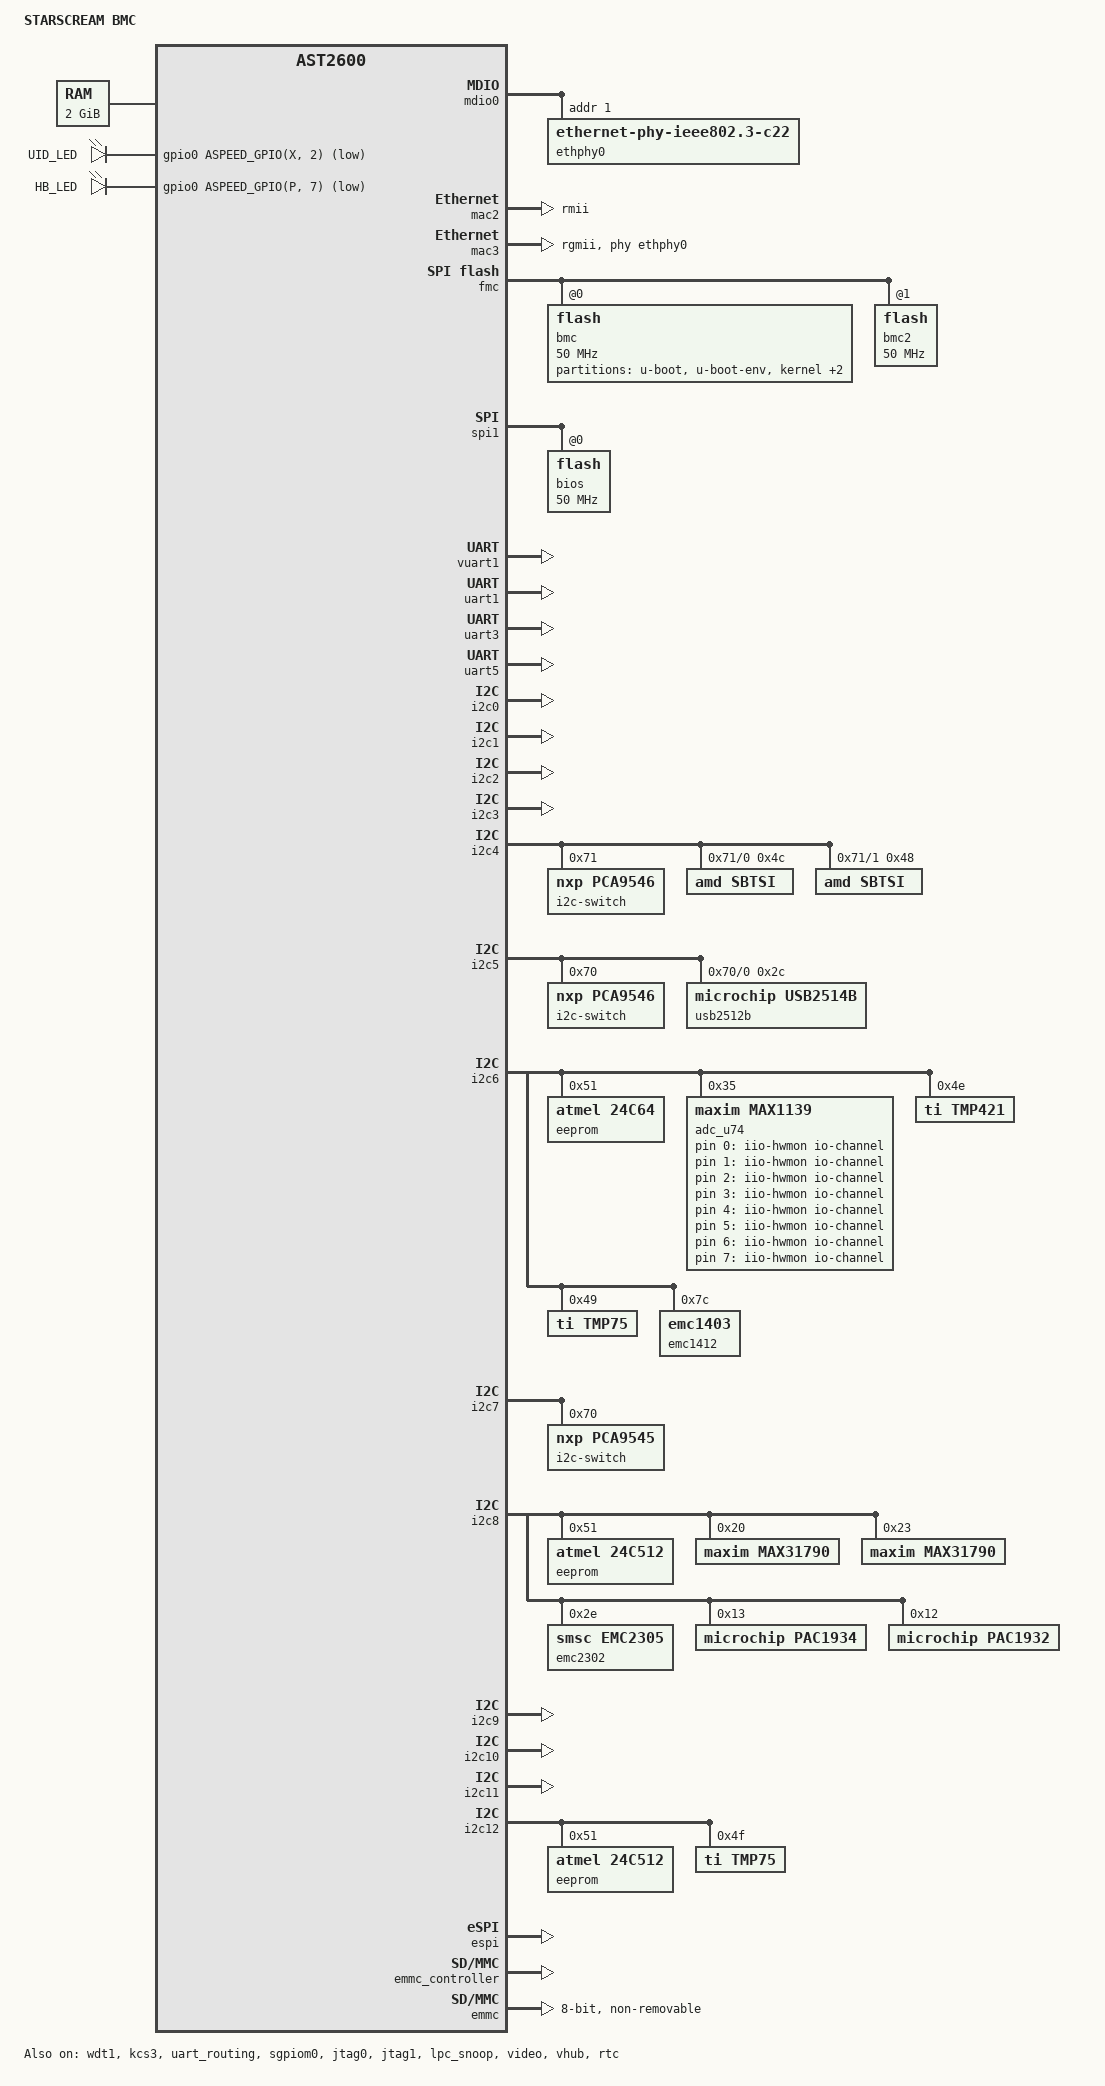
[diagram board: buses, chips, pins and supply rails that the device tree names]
// SPDX-License-Identifier: GPL-2.0-or-later
// Copyright 2019 IBM Corp.

/dts-v1/;

#include "aspeed-g6.dtsi"
#include "aspeed-g6-pinctrl.dtsi"
#include <dt-bindings/i2c/i2c.h>
#include <dt-bindings/gpio/aspeed-gpio.h>

/ {
        model = "STARSCREAM BMC";
        compatible = "inventec,starscream-bmc", "aspeed,ast2600";

        aliases {
                serial4 = &uart5;
        };

        chosen {
                stdout-path = &uart5;
                bootargs = "console=tty0 console=ttyS4,115200n8 root=/dev/ram rw init=/linuxrc";
        };

        memory@80000000 {
                device_type = "memory";
                reg = <0x80000000 0x80000000>;
        };

        reserved-memory {
                #address-cells = <1>;
                #size-cells = <1>;
                ranges;

                gfx_memory: framebuffer {
                        size = <0x01000000>;
                        alignment = <0x01000000>;
                        compatible = "shared-dma-pool";
                        reusable;
                };

                video_engine_memory: video {
                        size = <0x04000000>;
                        alignment = <0x01000000>;
                        compatible = "shared-dma-pool";
                        reusable;
                };

                ssp_memory: ssp_memory {
                        size = <0x00200000>;
                        alignment = <0x00100000>;
                        compatible = "shared-dma-pool";
                        no-map;
                };
#if 0
                espi_peripheral_memory: espi_peripheral_memory {
                        no-map;
                        reg = <0x98000000 0x04000000>; /* 64M */
                        size = <0x01000000>;
                        alignment = <0x01000000>;
                        compatible = "shared-dma-pool";
                        reusable;
                };
#endif
        };
        
        vga-shared-memory {
                compatible = "aspeed,ast2500-vga-sharedmem";
                reg = <0xbff00000 0x10000>;
        };

        iio-hwmon {
                compatible = "iio-hwmon";
                io-channels =
                    <&adc_u74 0>, // P0_VDD11
                    <&adc_u74 1>, // P1_VDD11
                    <&adc_u74 2>, // P0_3V3_S5
                    <&adc_u74 3>, // P1_3V3_S5
                    <&adc_u74 4>, // P3V3
                    <&adc_u74 5>, // VBAT
                    <&adc_u74 6>, // P3V3_STBY
                    <&adc_u74 7>, // P5V_STBY
                    <&adc_u74 8>, // P5V
                    <&adc_u74 9>, // P12V
                    <&adc_u74 10>, // P1_VDD18_S5
                    <&adc_u74 11> // P0_VDD18_S5
                    ;
        };

        leds {
                compatible = "gpio-leds";

                // UID led
                uid {
                    label = "UID_LED";
                    gpios = <&gpio0 ASPEED_GPIO(X, 2) GPIO_ACTIVE_LOW>;
                };

                // Heart beat led
                heartbeat {
                    label = "HB_LED";
                    gpios = <&gpio0 ASPEED_GPIO(P, 7) GPIO_ACTIVE_LOW>;
                };
        };
};

&mdio0 {
        status = "okay";

        ethphy0: ethernet-phy@0 {
                compatible = "ethernet-phy-ieee802.3-c22";
                reg = <1>;
        };
};

&mac2 {
        status = "okay";
        pinctrl-names = "default";
        phy-mode = "rmii";
        pinctrl-0 = <&pinctrl_rmii3_default>;
        use-ncsi;
};

&mac3 {
        status = "okay";

        phy-mode = "rgmii";
        phy-handle = <&ethphy0>;

        pinctrl-names = "default";
        pinctrl-0 = <&pinctrl_rgmii4_default>;
};

&fmc {
        status = "okay";
        flash@0 {
                status = "okay";
                m25p,fast-read;
                label = "bmc";
                spi-max-frequency = <50000000>;
                spi-tx-bus-width = <4>;
                spi-rx-bus-width = <4>;

                partitions {
                        compatible = "fixed-partitions";
                        #address-cells = <1>;
                        #size-cells = <1>;

                        u-boot@0 {
                                reg = <0x0 0xe0000>; // 896KB
                                label = "u-boot";
                        };

                        u-boot-env@e0000 {
                                reg = <0xe0000 0x20000>; // 128KB
                                label = "u-boot-env";
                        };

                        kernel@100000 {
                                reg = <0x100000 0x900000>; // 9MB
                                label = "kernel";
                        };

                        rofs@a00000 {
                                reg = <0xa00000 0x2000000>; // 32MB
                                label = "rofs";
                        };

                        rwfs@2a00000 {
                                reg = <0x2a00000 0x1600000>; // 22MB
                                label = "rwfs";
                        };
                };
        };

        flash@1 {
                status = "okay";
                m25p,fast-read;
                label = "bmc2";
                spi-max-frequency = <50000000>;
                spi-tx-bus-width = <4>;
                spi-rx-bus-width = <4>;
        };
};

&spi1 {
        status = "okay";
        pinctrl-names = "default";
        pinctrl-0 = <&pinctrl_spi1_default>;

        flash@0 {
                status = "okay";
                m25p,fast-read;
                label = "bios";
                spi-max-frequency = <50000000>;
                spi-tx-bus-width = <4>;
                spi-rx-bus-width = <4>;
        };
};


&wdt1 {
       status = "okay";
};

&vuart1 {
        status = "okay";
};

&uart1 {
        status = "okay";
};

&uart3 {
        status = "okay";
};

&uart5 {
        status = "okay";
};

&kcs3 {
        reg = <0x2c 0x1>, <0x38 0x1>, <0x44 0x1>;
        aspeed,lpc-io-reg = <0xca2>;
        status = "okay";
};

&uart_routing {
        status = "okay";
};

#if 1 //using i2c mode instead of i3c
&i2c0 {
        status = "okay";
};
&i2c1 {
        status = "okay";
};
&i2c2 {
        status = "okay";
};
&i2c3 {
        status = "okay";
};
#endif

&i2c4 {
        status = "okay";

        // I2C EXPANDER
        i2c-switch@71 {
                compatible = "nxp,pca9546";
                #address-cells = <1>;
                #size-cells = <0>;
                reg = <0x71>;

                i2c@0 {
                        #address-cells = <1>;
                        #size-cells = <0>;
                        reg = <0>;
                        // AMD SB-TSI CPU1
                        sbtsi@4c {
                                compatible = "amd,sbtsi";
                                reg = <0x4c>;
                        };
                };

                i2c@1 {
                        #address-cells = <1>;
                        #size-cells = <0>;
                        reg = <1>;
                        // AMD SB-TSI CPU2
                        sbtsi@48 {
                                compatible = "amd,sbtsi";
                                reg = <0x48>;
                        };
                };
        };
};

&i2c5 {
        status = "okay";

        // I2C EXPANDER U153
        i2c-switch@70 {
                compatible = "nxp,pca9546";
                #address-cells = <1>;
                #size-cells = <0>;
                reg = <0x70>;

                usb_hub:i2c@0 {
                        #address-cells = <1>;
                        #size-cells = <0>;
                        reg = <0>;

                        // USB U114
                        usb2512b@2c {
                                compatible = "microchip,usb2514b";
                                reg = <0x2c>;
                        };
                };

                riser1:i2c@1 {
                        #address-cells = <1>;
                        #size-cells = <0>;
                        reg = <1>;
                };

                riser2:i2c@2 {
                        #address-cells = <1>;
                        #size-cells = <0>;
                        reg = <2>;
                };

                i2c@3 {
                        #address-cells = <1>;
                        #size-cells = <0>;
                        reg = <3>;
                };
        };
};

&i2c6 {
        status = "okay";

        // FRU Motherboard
        eeprom@51 {
                compatible = "atmel,24c64";
                reg = <0x51>;
                pagesize = <32>;
        };

        // ADC_U74
        adc_u74:max1139@35 {
                compatible = "maxim,max1139";
                reg = <0x35>;
                #io-channel-cells = <1>;
        };

        // Motherboard Temp_U89
        tmp421@4e {
                compatible = "ti,tmp421";
                reg = <0x4e>;
        };

        // RunBMC Temp_U6
        tmp75@49 {
                compatible = "ti,tmp75";
                reg = <0x49>;
        };

        // Right ear board Temp_U1
        emc1412@7c {
                compatible = "emc1403";
                reg = <0x7c>;
        };
};

&i2c7 {
        status = "okay";
        // I2C EXPANDER U40
        i2c-switch@70 {
                compatible = "nxp,pca9545";
                #address-cells = <1>;
                #size-cells = <0>;
                reg = <0x70>;

                i2c@0 {
                        #address-cells = <1>;
                        #size-cells = <0>;
                        reg = <0>;
                };

                i2c@1 {
                        #address-cells = <1>;
                        #size-cells = <0>;
                        reg = <1>;
                };

                i2c@2 {
                        #address-cells = <1>;
                        #size-cells = <0>;
                        reg = <2>;
                };

                i2c@3 {
                        #address-cells = <1>;
                        #size-cells = <0>;
                        reg = <3>;
                };
        };
};


&i2c8 {
        status = "okay";
        // FRU RunBMC
        eeprom@51 {
                compatible = "atmel,24c512";
                reg = <0x51>;
                pagesize = <128>;
        };

        // Fan controller
        max31790@20 {
                compatible = "maxim,max31790";
                reg = <0x20>;
        };
        max31790@23 {
                compatible = "maxim,max31790";
                reg = <0x23>;
        };
        emc2302@2e {
                compatible = "smsc,emc2305";
                reg = <0x2e>;
        };

        pac1934@13 {
                compatible = "microchip,pac1934";
                reg = <0x13>;
                shunt-resistors = <4000 4000 4000 4000>;
        };

        pac1932@12 {
                compatible = "microchip,pac1932";
                reg = <0x12>;
                shunt-resistors = <4000 4000>;
        };
};

&i2c9 {
        status = "okay";
};

&i2c10 {
        status = "okay";
};

&i2c11 {
        status = "okay";
};

&i2c12 {
        status = "okay";
        // FRU SCM
        eeprom@51 {
                compatible = "atmel,24c512";
                reg = <0x51>;
                pagesize = <128>;
        };

        // SCM Temp_U17
        tmp75@4f {
                compatible = "ti,tmp75";
                reg = <0x4f>;
        };
};

#if 0 //using i2c mode instead of i3c
&i3cglobal {
        status = "okay";
};

&i3c2 {
        status = "okay";
        pinctrl-names = "default";
        pinctrl-0 = <&pinctrl_hvi3c3_default>;
};

&i3c3 {
        status = "okay";
        pinctrl-names = "default";
        pinctrl-0 = <&pinctrl_hvi3c4_default>;
};

&i3c4 {
        status = "okay";
};

&i3c5 {
        status = "okay";
};
#endif

&gpio0 {
    status = "okay";
    gpio-line-names =
    /*A0-A7*/   "","","","","","","","",
    /*B0-B7*/   "PSU0_SMB_ALERT_R_N","BMC_READY","","ASSERT_CPU0_PROCHOT_R_N","","","","",
    /*C0-C7*/   "","","","","","","","",
    /*D0-D7*/   "","","","","","","","",
    /*E0-E7*/   "","","","","","","","",
    /*F0-F7*/   "","","","","RST_BMC_SGPIO_R_N","","","",
    /*G0-G7*/   "","","SCM_JTAG_MUX_SE","","","","","",
    /*H0-H7*/   "","","","","RESET_OUT","POWER_OUT","","",
    /*I0-I7*/   "","","","","","","IRQ_BMC_CPU0_BUF_NMI_N","",
    /*J0-J7*/   "","","","","","","","",
    /*K0-K7*/   "","","","","","","","",
    /*L0-L7*/   "","","","","","","","",
    /*M0-M7*/   "","","","","","","","",
    /*N0-N7*/   "","","NCSI_OCP_CLK_EN_N","","","","","",
    /*O0-O7*/   "","","","","","","CPU1_THERMTRIP_N","",
    /*P0-P7*/   "","","","","","","","",
    /*Q0-Q7*/   "CPU0_PROCHOT_CPLD_N","","CPU1_PROCHOT_CPLD_N","","CPU0_PE_RST0","","","",
    /*R0-R7*/   "","","","","","","","",
    /*S0-S7*/   "","","","","","PCH_SLP_S4_BMC_N","CPU0_THERMTRIP_N","PSU1_SMB_ALERT_R_N",
    /*T0-T7*/   "","","","","","","","",
    /*U0-U7*/   "","","","","","","","",
    /*V0-V7*/   "BIOS_RECOVERY_BUF_N","","ASSERT_CPU1_PROCHOT_R_N","","PS_PWROK","","","",
    /*W0-W7*/   "","","","","","","","",
    /*X0-X7*/   "","","","","PLATFORM_TYPE","","","",
    /*Y0-Y7*/   "","","","","","","","",
    /*Z0-Z7*/   "","CPLD_PWRBRK_N","","","","","","",
    /*AA0-AA7*/ "","","","","","","","",
    /*AB0-AB7*/ "","","","","","","","",
    /*AC0-AC7*/ "","","","","","","","";
};

&sgpiom0 {
    status = "okay";
    max-ngpios = <64>;
    ngpios = <64>;
    bus-frequency = <1000000>;
    gpio-line-names =
    /*in - out - in - out */
    /*A0-A7*/   "","","","","","","","",
    /*A0-A7*/   "","","","","","","","",
    /*B0-B7*/   "","RST_BMC_CPU0_I2C_N","","RST_BMC_CPU1_I2C_N","","I2C_BUS7_RESET_N","","BMC_USB2514_1_RESET_N",
    /*B0-B7*/   "","BMC_CPU0_UART_EN","","HDT_BUF_EN_N","","BMC_ASSERT_CLR_CMOS","","HDT_MUX_SELECT_MON",
    /*C0-C7*/   "BUTTON_LED_UID","CPLD_JTAG_OE_R_N","CPU0_SPD_HOST_CTRL_N","CPLD_HDT_RESET_N","","I3C_MUX_SELECT","","SPI_MUX_SELECT",
    /*C0-C7*/   "","","","","","","","",
    /*D0-D7*/   "","","","","","","","",
    /*D0-D7*/   "","","","","","","FM_BIOS_POST_CMPLT_BUF_N","",
    /*E0-E7*/   "","","","","","","","",
    /*E0-E7*/   "","","","","","","","",
    /*F0-F7*/   "FAN0_INSTALL_R_N","","FAN1_INSTALL_R_N","","FAN2_INSTALL_R_N","","FAN3_INSTALL_R_N","",
    /*F0-F7*/   "FAN4_INSTALL_R_N","","FAN5_INSTALL_R_N","","CPU0_PRSNT_N","","CPU1_PRSNT_N","",
    /*G0-G7*/   "","","","","","","","",
    /*G0-G7*/   "","","","","PSU0_CPLD_PRESENT_N","","PSU1_CPLD_PRESENT_N","",
    /*H0-H7*/   "","","","","","","","",
    /*H0-H7*/   "","","","","RISER0_PRESENT_N","","RISER1_PRESENT_N","";
};


&jtag0 {
        status = "okay";
};

&jtag1 {
        status = "okay";
};

&espi {
        status = "okay";
};

&lpc_snoop {
        status = "okay";
        snoop-ports = <0x80>;
};

&emmc_controller {
        status = "okay";
        timing-phase = <0x700FF>;
};

&emmc {
        status = "okay";

        non-removable;
        max-frequency = <52000000>;
        sdhci-drive-type = /bits/ 8 <3>;
#if 0
        bus-width = <4>;
#else
        bus-width = <8>;
        pinctrl-0 = <&pinctrl_emmc_default
                        &pinctrl_emmcg8_default>;
#endif
};

&video {
        status = "okay";
        memory-region = <&video_engine_memory>;
};

&vhub {
        status = "okay";
        aspeed,vhub-downstream-ports = <7>;
        aspeed,vhub-generic-endpoints = <21>;
        pinctrl-names = "default";
        pinctrl-0 = <&pinctrl_usb2ad_default>;
};

&rtc {
        status = "okay";
};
